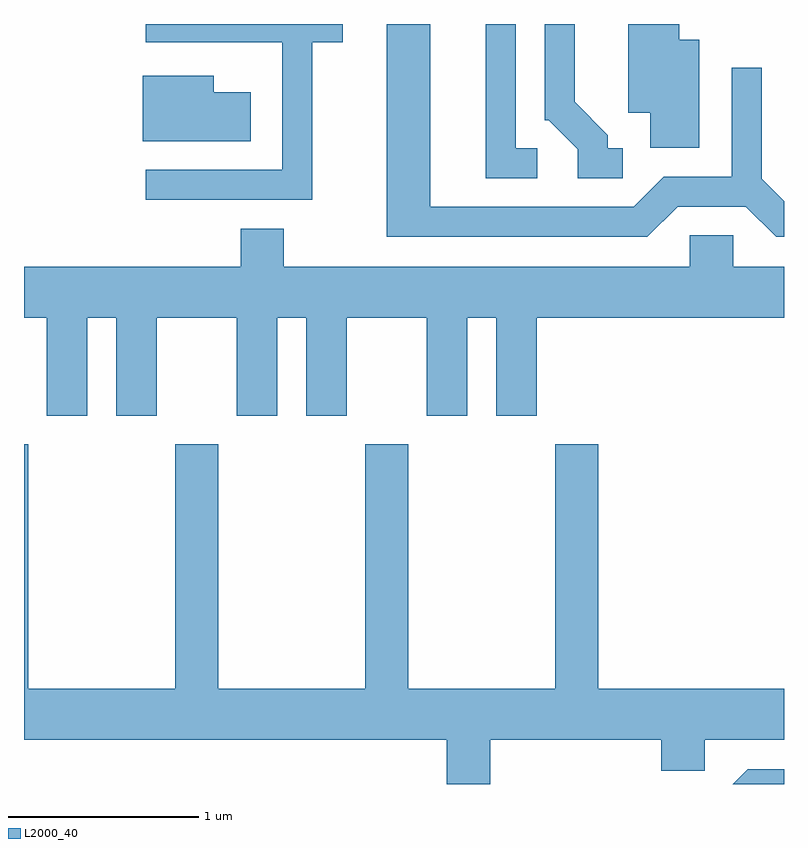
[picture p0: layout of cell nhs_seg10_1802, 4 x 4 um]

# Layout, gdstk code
import gdstk
lib = gdstk.Library(unit=1e-6, precision=1e-09)
def P(c, l, *ps):  # polygons
    for p in ps: c.add(gdstk.Polygon(p, *l))
L2000_40 = (2000, 40)

nhs_seg10_1802 = lib.new_cell('nhs_seg10_1802')
P(nhs_seg10_1802, L2000_40, [(241.164,2166.439),(241.059,2166.439),(241.059,2166.522),(240.791,2166.522),(240.791,2166.056),(240.906,2166.056),(240.906,2165.871),(241.164,2165.871)],
  [(240.763,2165.869),(240.684,2165.869),(240.684,2165.937),(240.509,2166.112),(240.509,2166.522),(240.351,2166.522),(240.351,2166.016),(240.374,2166.016),(240.526,2165.864),(240.526,2165.711),(240.763,2165.711)],
  [(241.052,2165.561),(241.409,2165.561),(241.569,2165.401),(241.611,2165.401),(241.611,2165.59),(241.494,2165.707),(241.494,2166.293),(241.336,2166.293),(241.336,2165.719),(240.979,2165.719),(240.819,2165.559),(239.749,2165.559),(239.749,2166.522),(239.521,2166.522),(239.521,2165.401),(240.892,2165.401)],
  [(240.313,2165.869),(240.199,2165.869),(240.199,2166.522),(240.041,2166.522),(240.041,2165.711),(240.313,2165.711)],
  [(239.129,2166.426),(239.289,2166.426),(239.289,2166.522),(238.253,2166.522),(238.253,2166.426),(238.971,2166.426),(238.971,2165.754),(238.253,2165.754),(238.253,2165.596),(239.129,2165.596)],
  [(238.804,2166.164),(238.609,2166.164),(238.609,2166.249),(238.236,2166.249),(238.236,2165.906),(238.804,2165.906)],
  [(237.944,2164.976),(238.096,2164.976),(238.096,2164.461),(238.309,2164.461),(238.309,2164.976),(238.731,2164.976),(238.731,2164.461),(238.944,2164.461),(238.944,2164.976),(239.096,2164.976),(239.096,2164.461),(239.309,2164.461),(239.309,2164.976),(239.731,2164.976),(239.731,2164.461),(239.944,2164.461),(239.944,2164.976),(240.096,2164.976),(240.096,2164.461),(240.309,2164.461),(240.309,2164.976),(241.611,2164.976),(241.611,2165.244),(241.344,2165.244),(241.344,2165.409),(241.116,2165.409),(241.116,2165.244),(238.979,2165.244),(238.979,2165.444),(238.751,2165.444),(238.751,2165.244),(237.611,2165.244),(237.611,2164.976),(237.731,2164.976),(237.731,2164.461),(237.944,2164.461)],
  [(240.634,2164.309),(240.406,2164.309),(240.406,2163.024),(239.634,2163.024),(239.634,2164.309),(239.406,2164.309),(239.406,2163.024),(238.634,2163.024),(238.634,2164.309),(238.406,2164.309),(238.406,2163.024),(237.634,2163.024),(237.634,2164.309),(237.611,2164.309),(237.611,2162.756),(239.836,2162.756),(239.836,2162.522),(240.064,2162.522),(240.064,2162.756),(240.966,2162.756),(240.966,2162.591),(241.194,2162.591),(241.194,2162.756),(241.611,2162.756),(241.611,2163.024),(240.634,2163.024)],
  [(241.611,2162.599),(241.419,2162.599),(241.342,2162.522),(241.611,2162.522)])

lib.write_gds('nhs_seg10_1802.gds')
